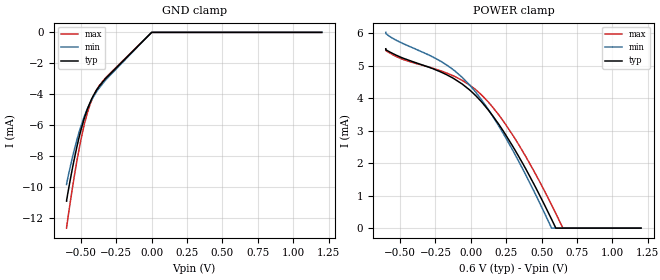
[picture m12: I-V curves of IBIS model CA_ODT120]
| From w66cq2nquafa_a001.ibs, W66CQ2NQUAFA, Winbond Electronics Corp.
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[Model]   CA_ODT120
Model_type   Input
Vinl = 0.0725
Vinh = 0.2275
|   typ   min   max
C_comp   0.57pF   0.52pF   0.62pF
[Voltage Range]   0.6   0.57   0.65
[Temperature Range]   25   95   -40
[Power Clamp Reference]   0.6   0.57   0.65
[GND Clamp Reference]   0   0   0
[GND Clamp]
|   Voltage   I(typ)   I(min)   I(max)
-600.6mV  -10.92mA   -9.846mA   -12.67mA
-580.2mV  -9.814mA   -8.926mA   -11.33mA
-548mV    -8.273mA   -7.664mA   -9.41mA
-500.6mV  -6.37mA    -6.11mA    -6.992mA
-476.5mV  -5.588mA   -5.466mA   -5.994mA
-457mV    -5.054mA   -5.013mA   -5.308mA
-435.5mV  -4.564mA   -4.584mA   -4.681mA
-412.8mV  -4.121mA   -4.194mA   -4.151mA
-369.3mV  -3.479mA   -3.589mA   -3.438mA
-318.5mV  -2.918mA   -3.019mA   -2.878mA
-50uV     -609.3nA   -1.58uA    -873.8nA
1.201V    0A         0A         0A
[POWER Clamp]
|   Voltage   I(typ)   I(min)   I(max)
-600.6mV  5.52mA     6.025mA    5.493mA
-476.5mV  5.228mA    5.676mA    5.188mA
-162.2mV  4.701mA    4.997mA    4.758mA
-60mV     4.432mA    4.636mA    4.545mA
12mV      4.172mA    4.302mA    4.335mA
119.6mV   3.655mA    3.676mA    3.899mA
240.2mV   2.911mA    2.828mA    3.226mA
393.2mV   1.778mA    1.592mA    2.162mA
569.6mV   275.3uA    3.339uA    717.9uA
600mV     0A         0A         450.5uA
650mV     0A         0A         392.4nA
1.201V    0A         0A         0A
